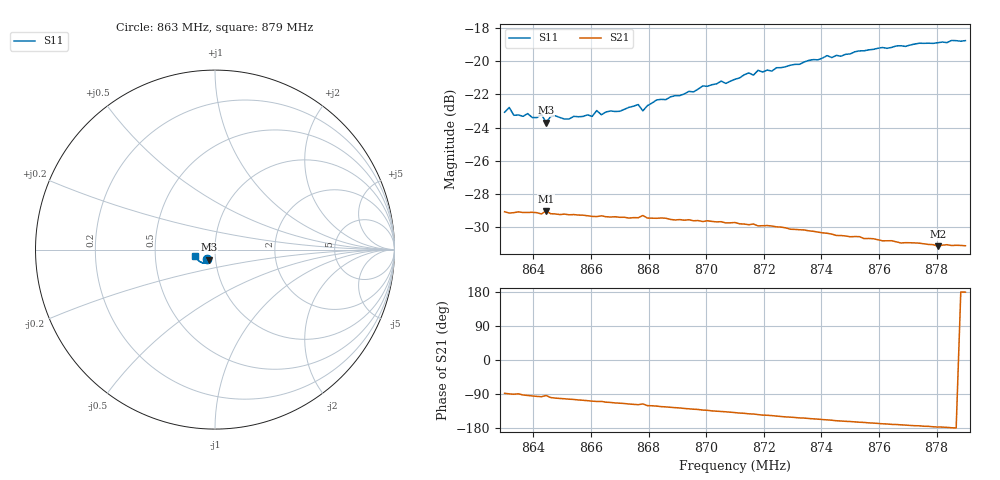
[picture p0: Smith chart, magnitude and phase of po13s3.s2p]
# HZ S RI R 50
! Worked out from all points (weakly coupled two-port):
!   101 points, 863 MHz to 879 MHz, reference 50 ohm
!   highest |S21| = -29.03 dB at 864.44 MHz (marker M1); lowest = -31.2 dB at 878.04 MHz (marker M2)
!   lowest |S11| = -23.7 dB at 864.44 MHz (marker M3), VSWR 1.14, Z = 46.4 - j5.17 ohm
!   |S11| at or under -10 dB: start of sweep to end of sweep
!   S12 and S22 are empty: the file has one direction only
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8.63e8  -0.0435 -0.0551  0.0013 -0.0351  0 0  0 0
8.6316e8  -0.0472 -0.0551  0.000432 -0.0348  0 0  0 0
8.6332e8  -0.0399 -0.056  -0.000169 -0.0349  0 0  0 0
8.638e8  -0.0413 -0.056  -0.00217 -0.0349  0 0  0 0
8.6412e8  -0.0394 -0.055  -0.00367 -0.0347  0 0  0 0
8.6428e8  -0.0423 -0.0548  -0.00409 -0.0343  0 0  0 0
8.6444e8  -0.0345 -0.0555  -0.00231 -0.0353  0 0  0 0
8.646e8  -0.0388 -0.056  -0.00547 -0.0342  0 0  0 0
8.6572e8  -0.0354 -0.0583  -0.0096 -0.0329  0 0  0 0
8.662e8  -0.0372 -0.0605  -0.0113 -0.032  0 0  0 0
8.6764e8  -0.0372 -0.0641  -0.0158 -0.0298  0 0  0 0
8.678e8  -0.0346 -0.0618  -0.015 -0.0308  0 0  0 0
8.6844e8  -0.0382 -0.0666  -0.0183 -0.0282  0 0  0 0
8.71e8  -0.0501 -0.0727  -0.0245 -0.0215  0 0  0 0
8.7148e8  -0.053 -0.0756  -0.0253 -0.0197  0 0  0 0
8.7164e8  -0.0522 -0.0744  -0.0256 -0.0196  0 0  0 0
8.718e8  -0.0563 -0.0753  -0.0258 -0.0187  0 0  0 0
8.7228e8  -0.0576 -0.0736  -0.0266 -0.0174  0 0  0 0
8.7372e8  -0.0691 -0.0741  -0.0278 -0.0128  0 0  0 0
8.7644e8  -0.0919 -0.0609  -0.0283 -0.00502  0 0  0 0
8.7804e8  -0.1034 -0.0478  -0.0276 -0.00149  0 0  0 0
8.79e8  -0.1091 -0.0382  -0.0277 0.000407  0 0  0 0
